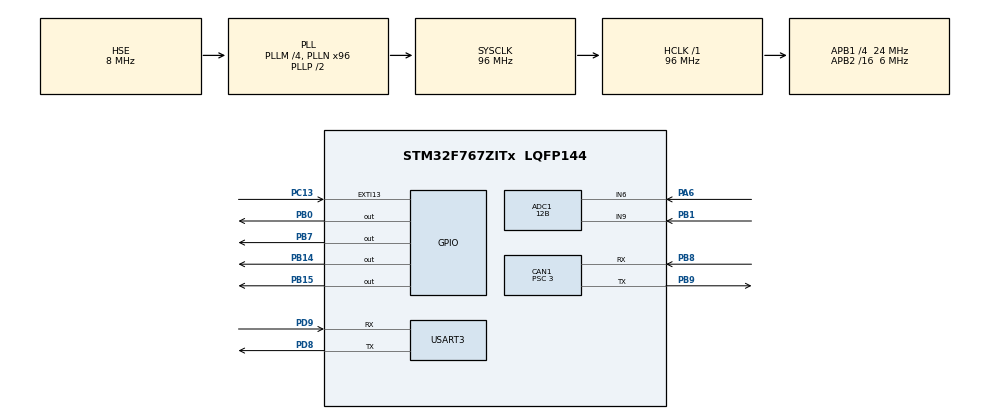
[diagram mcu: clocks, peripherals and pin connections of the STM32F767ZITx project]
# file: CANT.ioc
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ADC1.Channel-0\#ChannelRegularConversion=ADC_CHANNEL_6
ADC1.Channel-1\#ChannelRegularConversion=ADC_CHANNEL_9
ADC1.ClockPrescaler=ADC_CLOCK_SYNC_PCLK_DIV8
ADC1.ContinuousConvMode=ENABLE
ADC1.DMAContinuousRequests=ENABLE
ADC1.DataAlign=ADC_DATAALIGN_RIGHT
ADC1.EOCSelection=ADC_EOC_SEQ_CONV
ADC1.NbrOfConversion=2
ADC1.NbrOfConversionFlag=1
ADC1.Rank-0\#ChannelRegularConversion=1
ADC1.Rank-1\#ChannelRegularConversion=2
ADC1.Resolution=ADC_RESOLUTION_12B
ADC1.SamplingTime-0\#ChannelRegularConversion=ADC_SAMPLETIME_15CYCLES
ADC1.SamplingTime-1\#ChannelRegularConversion=ADC_SAMPLETIME_15CYCLES
ADC1.ScanConvMode=ADC_SCAN_ENABLE
ADC1.master=1
CAN1.AWUM=ENABLE
CAN1.BS1=CAN_BS1_13TQ
CAN1.BS2=CAN_BS2_2TQ
CAN1.CalculateTimeQuantum=125.0
CAN1.Mode=CAN_MODE_NORMAL
CAN1.NART=ENABLE
CAN1.Prescaler=3
CAN1.TXFP=DISABLE
Dma.ADC1.0.Direction=DMA_PERIPH_TO_MEMORY
Dma.ADC1.0.FIFOMode=DMA_FIFOMODE_DISABLE
Dma.ADC1.0.Instance=DMA2_Stream0
Dma.ADC1.0.MemDataAlignment=DMA_MDATAALIGN_WORD
Dma.ADC1.0.MemInc=DMA_MINC_ENABLE
Dma.ADC1.0.Mode=DMA_CIRCULAR
Dma.ADC1.0.PeriphDataAlignment=DMA_PDATAALIGN_WORD
Dma.ADC1.0.PeriphInc=DMA_PINC_DISABLE
Dma.ADC1.0.Priority=DMA_PRIORITY_LOW
Dma.Request0=ADC1
Dma.Request1=USART3_RX
Dma.Request2=USART3_TX
Dma.USART3_RX.1.Direction=DMA_PERIPH_TO_MEMORY
Dma.USART3_RX.1.FIFOMode=DMA_FIFOMODE_DISABLE
Dma.USART3_RX.1.Instance=DMA1_Stream1
Dma.USART3_RX.1.MemDataAlignment=DMA_MDATAALIGN_BYTE
Dma.USART3_RX.1.MemInc=DMA_MINC_ENABLE
Dma.USART3_RX.1.Mode=DMA_CIRCULAR
Dma.USART3_RX.1.PeriphDataAlignment=DMA_PDATAALIGN_BYTE
Dma.USART3_RX.1.PeriphInc=DMA_PINC_DISABLE
Dma.USART3_RX.1.Priority=DMA_PRIORITY_LOW
Dma.USART3_TX.2.Direction=DMA_MEMORY_TO_PERIPH
Dma.USART3_TX.2.FIFOMode=DMA_FIFOMODE_DISABLE
Dma.USART3_TX.2.Instance=DMA1_Stream3
Dma.USART3_TX.2.MemDataAlignment=DMA_MDATAALIGN_WORD
Dma.USART3_TX.2.MemInc=DMA_MINC_ENABLE
Dma.USART3_TX.2.Mode=DMA_NORMAL
Dma.USART3_TX.2.PeriphDataAlignment=DMA_PDATAALIGN_WORD
Dma.USART3_TX.2.PeriphInc=DMA_PINC_DISABLE
Dma.USART3_TX.2.Priority=DMA_PRIORITY_LOW
Mcu.Family=STM32F7
Mcu.Name=STM32F767ZITx
Mcu.Package=LQFP144
NVIC.ADC_IRQn=true\:0\:0\:true\:false\:true\:true\:true
NVIC.CAN1_RX0_IRQn=true\:0\:0\:true\:false\:true\:true\:true
NVIC.DMA1_Stream1_IRQn=true\:0\:0\:false\:false\:true\:false\:true
NVIC.DMA1_Stream3_IRQn=true\:0\:0\:false\:false\:true\:false\:true
NVIC.DMA2_Stream0_IRQn=true\:0\:0\:true\:false\:true\:false\:true
NVIC.PriorityGroup=NVIC_PRIORITYGROUP_4
NVIC.TIM2_IRQn=true\:0\:0\:false\:false\:true\:true\:true
NVIC.USART3_IRQn=true\:0\:0\:false\:false\:true\:true\:true
PA13.Mode=Serial_Wire
PA13.Signal=SYS_JTMS-SWDIO
PA14.Mode=Serial_Wire
PA14.Signal=SYS_JTCK-SWCLK
PA2.Signal=USART2_TX
PA3.Signal=USART2_RX
PA6.Signal=ADCx_IN6
PB0.Signal=GPIO_Output
PB1.Signal=ADCx_IN9
PB14.Signal=GPIO_Output
PB15.Signal=GPIO_Output
PB7.Signal=GPIO_Output
PB8.Mode=Master
PB8.Signal=CAN1_RX
PB9.Mode=Master
PB9.Signal=CAN1_TX
PC13.Signal=GPXTI13
PD8.Mode=Asynchronous
PD8.Signal=USART3_TX
PD9.Mode=Asynchronous
PD9.Signal=USART3_RX
PH0/OSC_IN.Mode=HSE-External-Oscillator
PH0/OSC_IN.Signal=RCC_OSC_IN
PH1/OSC_OUT.Mode=HSE-External-Oscillator
PH1/OSC_OUT.Signal=RCC_OSC_OUT
ProjectManager.HeapSize=0x200
ProjectManager.StackSize=0x400
ProjectManager.TargetToolchain=STM32CubeIDE
RCC.48MHZClocksFreq_Value=24000000
RCC.AHBFreq_Value=96000000
RCC.APB1CLKDivider=RCC_HCLK_DIV4
RCC.APB1Freq_Value=24000000
RCC.APB1TimFreq_Value=48000000
RCC.APB2CLKDivider=RCC_HCLK_DIV16
RCC.APB2Freq_Value=6000000
RCC.APB2TimFreq_Value=12000000
RCC.CortexFreq_Value=96000000
RCC.HCLKFreq_Value=96000000
RCC.HSE_VALUE=8000000
RCC.HSI_VALUE=16000000
RCC.LSE_VALUE=32768
RCC.PLLM=4
RCC.PLLMUL=RCC_PLL_MUL9
RCC.PLLN=96
RCC.PLLQ=4
RCC.PLLSourceVirtual=RCC_PLLSOURCE_HSE
RCC.PRESCALERUSB=RCC_USBCLKSOURCE_PLL_DIV1_5
RCC.SYSCLKFreq_VALUE=96000000
RCC.SYSCLKSource=RCC_SYSCLKSOURCE_PLLCLK
RCC.SYSCLKSourceVirtual=RCC_SYSCLKSOURCE_PLLCLK
RCC.USBFreq_Value=48000000
RCC.VCOOutputFreq_Value=192000000
SH.ADCx_IN6.0=ADC1_IN6,IN6
SH.ADCx_IN9.0=ADC1_IN9,IN9
TIM2.Period=499
TIM2.Prescaler=24000
USART3.VirtualMode-Asynchronous=VM_ASYNC
VP_TIM2_VS_ClockSourceINT.Mode=Internal
board=NUCLEO-F767ZI

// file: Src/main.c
/* USER CODE BEGIN Header */
/**
  ******************************************************************************
  * @file           : main.c
  * @brief          : Main program body
  ******************************************************************************
  * @attention
  *
  * <h2><center>&copy; Copyright (c) 2019 STMicroelectronics.
  * All rights reserved.</center></h2>
  *
  * This software component is licensed by ST under BSD 3-Clause license,
  * the "License"; You may not use this file except in compliance with the
  * License. You may obtain a copy of the License at:
  *                        opensource.org/licenses/BSD-3-Clause
  *
  ******************************************************************************
  */
/* USER CODE END Header */

#include "main.h"

/* USER CODE BEGIN Includes */
#include "board.h"
#include "APP_Motores.h"
/* USER CODE END Includes */

ADC_HandleTypeDef hadc1;
DMA_HandleTypeDef hdma_adc1;

CAN_HandleTypeDef hcan1;

TIM_HandleTypeDef htim2;

UART_HandleTypeDef huart3;
DMA_HandleTypeDef hdma_usart3_rx;
DMA_HandleTypeDef hdma_usart3_tx;

/* USER CODE BEGIN PV */

//esto no es global, solo del main
int throttle,direction,brake;

// Mis variables de informacion global
uint32_t ADC_val[ENTRADAS_ADC];   // valores donde voy a alojar los datos del adc

/*Acomodo las variables que le voy a pasar a la app motores.
 * La info motor esta ordenada de forma:*/
uint8_t	buffer_Rx_msg[8];
uint32_t TxMailbox1,TxMailbox2,TxMailbox3;

// El RX header va a tener la info que me llega de CAN
CAN_RxHeaderTypeDef pRxHeader;
uint16_t status[2];
uint8_t FLAG_OP,FLAG_CAN,FLAG_USART ;
int velocity[2],DcCurrent[2],MotorCrr[2],VelocityAVG[2];
uint8_t MotorTemp[2],ControllerTemp[2];
short int Phase_A_Crr[2],Phase_B_Crr[2],DcLink[2],Torque[2],Warnings[2];

/* USER CODE END PV */

void SystemClock_Config(void);
static void MX_GPIO_Init(void);
static void MX_DMA_Init(void);
static void MX_CAN1_Init(void);
static void MX_ADC1_Init(void);
static void MX_TIM2_Init(void);
static void MX_USART3_UART_Init(void);
/* USER CODE BEGIN PFP */
//void envio_mensaje(void);

//int can1_Tx(uint16_t Id ,uint8_t mensaje [],uint8_t bytes);
/* USER CODE END PFP */

int main(void)
{

  /* MCU Configuration--------------------------------------------------------*/

  /* Reset of all peripherals, Initializes the Flash interface and the Systick. */
  HAL_Init();

  /* Configure the system clock */
  SystemClock_Config();

  /* Initialize all configured peripherals */
  MX_GPIO_Init();
  MX_DMA_Init();
  MX_CAN1_Init();
  MX_ADC1_Init();
  MX_TIM2_Init();
  MX_USART3_UART_Init();
  /* USER CODE BEGIN 2 */
  mysystem_start();
  /* USER CODE END 2 */

  /* Infinite loop */
  /* USER CODE BEGIN WHILE */
  while (1)
      {
	  /*en un principio el acelerador y freno iban a venir de una lectura de ADC
	   * o variable externa, se setean y entran a la funcion control motores*/
	  direction=ADC_val[1];
	  throttle=ADC_val[0];
	  brake=0;

	  control_motors(throttle,direction,brake);
    /* USER CODE END WHILE */

      }
}

void SystemClock_Config(void)
{
  RCC_OscInitTypeDef RCC_OscInitStruct = {0};
  RCC_ClkInitTypeDef RCC_ClkInitStruct = {0};
  RCC_PeriphCLKInitTypeDef PeriphClkInitStruct = {0};

  /** Configure the main internal regulator output voltage
  */
  __HAL_RCC_PWR_CLK_ENABLE();
  __HAL_PWR_VOLTAGESCALING_CONFIG(PWR_REGULATOR_VOLTAGE_SCALE3);
  /** Initializes the CPU, AHB and APB busses clocks
  */
  RCC_OscInitStruct.OscillatorType = RCC_OSCILLATORTYPE_HSE;
  RCC_OscInitStruct.HSEState = RCC_HSE_ON;
  RCC_OscInitStruct.PLL.PLLState = RCC_PLL_ON;
  RCC_OscInitStruct.PLL.PLLSource = RCC_PLLSOURCE_HSE;
  RCC_OscInitStruct.PLL.PLLM = 4;
  RCC_OscInitStruct.PLL.PLLN = 96;
  RCC_OscInitStruct.PLL.PLLP = RCC_PLLP_DIV2;
  RCC_OscInitStruct.PLL.PLLQ = 4;
  if (HAL_RCC_OscConfig(&RCC_OscInitStruct) != HAL_OK)
  {
    Error_Handler();
  }
  /** Initializes the CPU, AHB and APB busses clocks
  */
  RCC_ClkInitStruct.ClockType = RCC_CLOCKTYPE_HCLK|RCC_CLOCKTYPE_SYSCLK
                              |RCC_CLOCKTYPE_PCLK1|RCC_CLOCKTYPE_PCLK2;
  RCC_ClkInitStruct.SYSCLKSource = RCC_SYSCLKSOURCE_PLLCLK;
  RCC_ClkInitStruct.AHBCLKDivider = RCC_SYSCLK_DIV1;
  RCC_ClkInitStruct.APB1CLKDivider = RCC_HCLK_DIV4;
  RCC_ClkInitStruct.APB2CLKDivider = RCC_HCLK_DIV16;

  if (HAL_RCC_ClockConfig(&RCC_ClkInitStruct, FLASH_LATENCY_3) != HAL_OK)
  {
    Error_Handler();
  }
  PeriphClkInitStruct.PeriphClockSelection = RCC_PERIPHCLK_USART3;
  PeriphClkInitStruct.Usart3ClockSelection = RCC_USART3CLKSOURCE_PCLK1;
  if (HAL_RCCEx_PeriphCLKConfig(&PeriphClkInitStruct) != HAL_OK)
  {
    Error_Handler();
  }
}

static void MX_ADC1_Init(void)
{

  ADC_ChannelConfTypeDef sConfig = {0};

  /** Configure the global features of the ADC (Clock, Resolution, Data Alignment and number of conversion)
  */
  hadc1.Instance = ADC1;
  hadc1.Init.ClockPrescaler = ADC_CLOCK_SYNC_PCLK_DIV8;
  hadc1.Init.Resolution = ADC_RESOLUTION_12B;
  hadc1.Init.ScanConvMode = ADC_SCAN_ENABLE;
  hadc1.Init.ContinuousConvMode = ENABLE;
  hadc1.Init.DiscontinuousConvMode = DISABLE;
  hadc1.Init.ExternalTrigConvEdge = ADC_EXTERNALTRIGCONVEDGE_NONE;
  hadc1.Init.ExternalTrigConv = ADC_SOFTWARE_START;
  hadc1.Init.DataAlign = ADC_DATAALIGN_RIGHT;
  hadc1.Init.NbrOfConversion = 2;
  hadc1.Init.DMAContinuousRequests = ENABLE;
  hadc1.Init.EOCSelection = ADC_EOC_SEQ_CONV;
  if (HAL_ADC_Init(&hadc1) != HAL_OK)
  {
    Error_Handler();
  }
  /** Configure for the selected ADC regular channel its corresponding rank in the sequencer and its sample time.
  */
  sConfig.Channel = ADC_CHANNEL_6;
  sConfig.Rank = ADC_REGULAR_RANK_1;
  sConfig.SamplingTime = ADC_SAMPLETIME_15CYCLES;
  if (HAL_ADC_ConfigChannel(&hadc1, &sConfig) != HAL_OK)
  {
    Error_Handler();
  }
  /** Configure for the selected ADC regular channel its corresponding rank in the sequencer and its sample time.
  */
  sConfig.Channel = ADC_CHANNEL_9;
  sConfig.Rank = ADC_REGULAR_RANK_2;
  if (HAL_ADC_ConfigChannel(&hadc1, &sConfig) != HAL_OK)
  {
    Error_Handler();
  }

}

static void MX_CAN1_Init(void)
{

  hcan1.Instance = CAN1;
  hcan1.Init.Prescaler = 3;
  hcan1.Init.Mode = CAN_MODE_NORMAL;
  hcan1.Init.SyncJumpWidth = CAN_SJW_1TQ;
  hcan1.Init.TimeSeg1 = CAN_BS1_13TQ;
  hcan1.Init.TimeSeg2 = CAN_BS2_2TQ;
  hcan1.Init.TimeTriggeredMode = DISABLE;
  hcan1.Init.AutoBusOff = DISABLE;
  hcan1.Init.AutoWakeUp = ENABLE;
  hcan1.Init.AutoRetransmission = ENABLE;
  hcan1.Init.ReceiveFifoLocked = DISABLE;
  hcan1.Init.TransmitFifoPriority = DISABLE;
  if (HAL_CAN_Init(&hcan1) != HAL_OK)
  {
    Error_Handler();
  }

}

static void MX_TIM2_Init(void)
{

  TIM_ClockConfigTypeDef sClockSourceConfig = {0};
  TIM_MasterConfigTypeDef sMasterConfig = {0};

  htim2.Instance = TIM2;
  htim2.Init.Prescaler = 24000;
  htim2.Init.CounterMode = TIM_COUNTERMODE_UP;
  htim2.Init.Period = 499;
  htim2.Init.ClockDivision = TIM_CLOCKDIVISION_DIV1;
  htim2.Init.AutoReloadPreload = TIM_AUTORELOAD_PRELOAD_DISABLE;
  if (HAL_TIM_Base_Init(&htim2) != HAL_OK)
  {
    Error_Handler();
  }
  sClockSourceConfig.ClockSource = TIM_CLOCKSOURCE_INTERNAL;
  if (HAL_TIM_ConfigClockSource(&htim2, &sClockSourceConfig) != HAL_OK)
  {
    Error_Handler();
  }
  sMasterConfig.MasterOutputTrigger = TIM_TRGO_RESET;
  sMasterConfig.MasterSlaveMode = TIM_MASTERSLAVEMODE_DISABLE;
  if (HAL_TIMEx_MasterConfigSynchronization(&htim2, &sMasterConfig) != HAL_OK)
  {
    Error_Handler();
  }

}

static void MX_USART3_UART_Init(void)
{

  huart3.Instance = USART3;
  huart3.Init.BaudRate = 115200;
  huart3.Init.WordLength = UART_WORDLENGTH_8B;
  huart3.Init.StopBits = UART_STOPBITS_1;
  huart3.Init.Parity = UART_PARITY_NONE;
  huart3.Init.Mode = UART_MODE_TX_RX;
  huart3.Init.HwFlowCtl = UART_HWCONTROL_NONE;
  huart3.Init.OverSampling = UART_OVERSAMPLING_16;
  huart3.Init.OneBitSampling = UART_ONE_BIT_SAMPLE_DISABLE;
  huart3.AdvancedInit.AdvFeatureInit = UART_ADVFEATURE_NO_INIT;
  if (HAL_UART_Init(&huart3) != HAL_OK)
  {
    Error_Handler();
  }

}

static void MX_DMA_Init(void)
{

  /* DMA controller clock enable */
  __HAL_RCC_DMA2_CLK_ENABLE();
  __HAL_RCC_DMA1_CLK_ENABLE();

  /* DMA interrupt init */
  /* DMA1_Stream1_IRQn interrupt configuration */
  HAL_NVIC_SetPriority(DMA1_Stream1_IRQn, 0, 0);
  HAL_NVIC_EnableIRQ(DMA1_Stream1_IRQn);
  /* DMA1_Stream3_IRQn interrupt configuration */
  HAL_NVIC_SetPriority(DMA1_Stream3_IRQn, 0, 0);
  HAL_NVIC_EnableIRQ(DMA1_Stream3_IRQn);
  /* DMA2_Stream0_IRQn interrupt configuration */
  HAL_NVIC_SetPriority(DMA2_Stream0_IRQn, 0, 0);
  HAL_NVIC_EnableIRQ(DMA2_Stream0_IRQn);

}

static void MX_GPIO_Init(void)
{
  GPIO_InitTypeDef GPIO_InitStruct = {0};

  /* GPIO Ports Clock Enable */
  __HAL_RCC_GPIOC_CLK_ENABLE();
  __HAL_RCC_GPIOH_CLK_ENABLE();
  __HAL_RCC_GPIOA_CLK_ENABLE();
  __HAL_RCC_GPIOB_CLK_ENABLE();
  __HAL_RCC_GPIOD_CLK_ENABLE();

  /*Configure GPIO pin Output Level */
  HAL_GPIO_WritePin(GPIOB, GPIO_PIN_0|GPIO_PIN_14|GPIO_PIN_15|GPIO_PIN_7, GPIO_PIN_RESET);

  /*Configure GPIO pin : PC13 */
  GPIO_InitStruct.Pin = GPIO_PIN_13;
  GPIO_InitStruct.Mode = GPIO_MODE_IT_RISING;
  GPIO_InitStruct.Pull = GPIO_NOPULL;
  HAL_GPIO_Init(GPIOC, &GPIO_InitStruct);

  /*Configure GPIO pins : PA2 PA3 */
  GPIO_InitStruct.Pin = GPIO_PIN_2|GPIO_PIN_3;
  GPIO_InitStruct.Mode = GPIO_MODE_AF_PP;
  GPIO_InitStruct.Pull = GPIO_NOPULL;
  GPIO_InitStruct.Speed = GPIO_SPEED_FREQ_VERY_HIGH;
  GPIO_InitStruct.Alternate = GPIO_AF7_USART2;
  HAL_GPIO_Init(GPIOA, &GPIO_InitStruct);

  /*Configure GPIO pins : PB0 PB14 PB15 PB7 */
  GPIO_InitStruct.Pin = GPIO_PIN_0|GPIO_PIN_14|GPIO_PIN_15|GPIO_PIN_7;
  GPIO_InitStruct.Mode = GPIO_MODE_OUTPUT_PP;
  GPIO_InitStruct.Pull = GPIO_NOPULL;
  GPIO_InitStruct.Speed = GPIO_SPEED_FREQ_LOW;
  HAL_GPIO_Init(GPIOB, &GPIO_InitStruct);

}

void Error_Handler(void)
{
  /* USER CODE BEGIN Error_Handler_Debug */
	// enciendo pin rojo si hay algun error
	HAL_GPIO_WritePin(GPIOB, GPIO_PIN_14, 1);
/*	while(1)
	{

	}*/

  /* User can add his own implementation to report the HAL error return state */

  /* USER CODE END Error_Handler_Debug */
}

/************************ (C) COPYRIGHT STMicroelectronics *****END OF FILE****/
